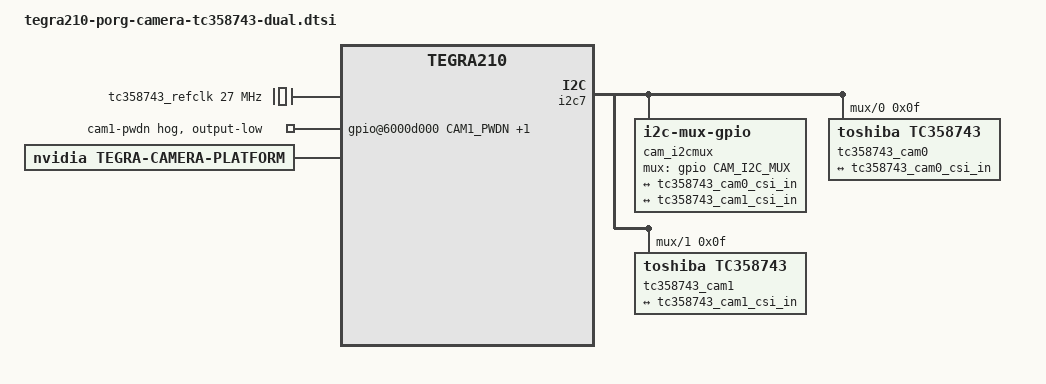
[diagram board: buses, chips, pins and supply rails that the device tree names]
// SPDX-License-Identifier: GPL-2.0-only
/*
 * Two TC358743 (HDMI -> CSI-2) on the Jetson Nano B01: one on each camera connector, or a single one on
 * either. Replaces the B01 DT's imx219/imx477 includes, like tegra210-porg-camera-tc358743.dtsi (CAM1 only:
 * the frozen base's DTB, UPDATES.md §12.11), whose notes apply to each chip.
 *
 * - CAM0: cam_i2cmux channel 0 (bus 7 in Linux), CSI port A (port-index 0, "serial_a").
 *   CAM1: cam_i2cmux channel 1 (bus 8), CSI port E (port-index 4, "serial_e"). Both at 0x0f behind the mux,
 *   2 lanes, continuous clock: the layout of NVIDIA's dual imx219 DT for the B01.
 * - The VI registers one async notifier per channel (vi/graph.c, tegra_vi_graph_init): a connector without a
 *   chip (the driver's probe fails, tc358743-jetson.patch) leaves only its own channel without a video node.
 * - tegra-camera-platform: 4 lanes and twice the pixel rate, so that the VI's ISO bandwidth covers two
 *   1080p50 UYVY streams (2 lanes give ~469 MB/s, two streams need ~520 MB/s with the 25 % margin).
 * - The reset pin (one wire, to the chip of whichever connector it is soldered to) is declared on top of this
 *   file, in tegra210-porg-tc358743-rst.dtsi, through the tc358743_cam0/tc358743_cam1 labels.
 */
#include <dt-bindings/media/camera.h>
#include <dt-bindings/platform/t210/t210.h>

#define CAM1_PWDN		TEGRA_GPIO(S, 7)
#define CAM2_PWDN		TEGRA_GPIO(T, 0)
#define CAM_I2C_MUX		TEGRA_GPIO(I, 0)

/ {
	tc358743_refclk: tc358743-refclk {
		compatible = "fixed-clock";
		#clock-cells = <0>;
		clock-frequency = <27000000>;
	};

	host1x {
		vi_base: vi {
			num-channels = <2>;
			ports {
				#address-cells = <1>;
				#size-cells = <0>;
				vi_port0: port@0 {
					reg = <0>;
					tc358743_cam0_vi_in: endpoint {
						port-index = <0>;
						bus-width = <2>;
						remote-endpoint = <&tc358743_cam0_csi_out>;
					};
				};
				vi_port1: port@1 {
					reg = <1>;
					tc358743_cam1_vi_in: endpoint {
						port-index = <4>;
						bus-width = <2>;
						remote-endpoint = <&tc358743_cam1_csi_out>;
					};
				};
			};
		};

		csi_base: nvcsi {
			num-channels = <2>;
			#address-cells = <1>;
			#size-cells = <0>;
			csi_chan0: channel@0 {
				reg = <0>;
				discontinuous_clk = "no";
				cil_settletime = "0";
				ports {
					#address-cells = <1>;
					#size-cells = <0>;
					csi_chan0_port0: port@0 {
						reg = <0>;
						tc358743_cam0_csi_in: endpoint@0 {
							port-index = <0>;
							bus-width = <2>;
							remote-endpoint = <&tc358743_cam0_out>;
						};
					};
					csi_chan0_port1: port@1 {
						reg = <1>;
						tc358743_cam0_csi_out: endpoint@1 {
							remote-endpoint = <&tc358743_cam0_vi_in>;
						};
					};
				};
			};
			csi_chan1: channel@1 {
				reg = <1>;
				discontinuous_clk = "no";
				cil_settletime = "0";
				ports {
					#address-cells = <1>;
					#size-cells = <0>;
					csi_chan1_port0: port@2 {
						reg = <0>;
						tc358743_cam1_csi_in: endpoint@2 {
							port-index = <4>;
							bus-width = <2>;
							remote-endpoint = <&tc358743_cam1_out>;
						};
					};
					csi_chan1_port1: port@3 {
						reg = <1>;
						tc358743_cam1_csi_out: endpoint@3 {
							remote-endpoint = <&tc358743_cam1_vi_in>;
						};
					};
				};
			};
		};
	};

	cam_i2cmux {
		compatible = "i2c-mux-gpio";
		#address-cells = <1>;
		#size-cells = <0>;
		mux-gpios = <&gpio CAM_I2C_MUX GPIO_ACTIVE_HIGH>;
		i2c-parent = <&i2c7>;
		i2c@0 {
			reg = <0>;
			#address-cells = <1>;
			#size-cells = <0>;
			tc358743_cam0: tc358743@f {
				compatible = "toshiba,tc358743";
				reg = <0x0f>;
				clocks = <&tc358743_refclk>;
				clock-names = "refclk";
				status = "okay";
				ports {
					#address-cells = <1>;
					#size-cells = <0>;
					port@0 {
						reg = <0>;
						tc358743_cam0_out: endpoint {
							port-index = <0>;
							bus-width = <2>;
							data-lanes = <1 2>;
							clock-lanes = <0>;
							/* 486 MHz DDR = 972 Mbps/lane, as on CAM1 */
							link-frequencies = /bits/ 64 <486000000>;
							remote-endpoint = <&tc358743_cam0_csi_in>;
						};
					};
				};
			};
		};
		i2c@1 {
			reg = <1>;
			#address-cells = <1>;
			#size-cells = <0>;
			tc358743_cam1: tc358743@f {
				compatible = "toshiba,tc358743";
				reg = <0x0f>;
				clocks = <&tc358743_refclk>;
				clock-names = "refclk";
				status = "okay";
				ports {
					#address-cells = <1>;
					#size-cells = <0>;
					port@0 {
						reg = <0>;
						tc358743_cam1_out: endpoint {
							port-index = <4>;
							bus-width = <2>;
							data-lanes = <1 2>;
							clock-lanes = <0>;
							link-frequencies = /bits/ 64 <486000000>;
							remote-endpoint = <&tc358743_cam1_csi_in>;
						};
					};
				};
			};
		};
	};

	/* As in the single DT: PWDN of CAM0/CAM1 low (the chip answers that way). */
	gpio@6000d000 {
		camera-control-output-low {
			gpio-hog;
			output-low;
			gpios = < CAM1_PWDN 0  CAM2_PWDN 0>;
			label = "cam1-pwdn", "cam2-pwdn";
		};
	};

	tegra-camera-platform {
		compatible = "nvidia, tegra-camera-platform";
		num_csi_lanes = <4>;
		max_lane_speed = <1500000>;
		min_bits_per_pixel = <16>;
		vi_peak_byte_per_pixel = <2>;
		vi_bw_margin_pct = <25>;
		max_pixel_rate = <320000>;
		isp_peak_byte_per_pixel = <2>;
		isp_bw_margin_pct = <25>;
	};
};
